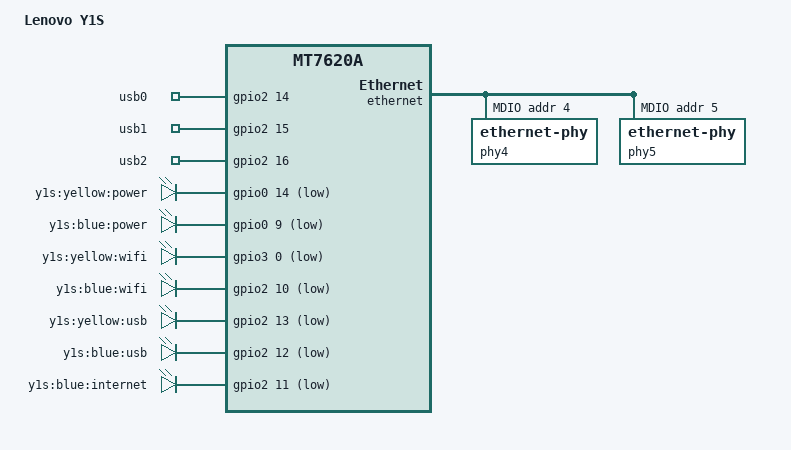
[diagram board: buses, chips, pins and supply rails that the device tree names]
/dts-v1/;

#include "Y1.dtsi"

/ {
	compatible = "lenovo,Y1S", "ralink,mt7620a-soc";
	model = "Lenovo Y1S";

	gpio_export {
		compatible = "gpio-export";
		#size-cells = <0>;
		/* GPIO 54、55、56 USB1、2、3 */
		usb0 {
			gpio-export,name = "usb0";
			gpio-export,output = <1>; // GPIOF_OUT_INIT_HIGH
			gpios = <&gpio2 14 0>; // GPIO2:40+14=GPIO 54
		};
		usb1 {
			gpio-export,name = "usb1";
			gpio-export,output = <1>;
			gpios = <&gpio2 15 0>;
		};
		usb2 {
			gpio-export,name = "usb2";
			gpio-export,output = <1>;
			gpios = <&gpio2 16 0>;
		};
	};

	gpio-leds {
		compatible = "gpio-leds";

		power1 {
			label = "y1s:yellow:power";
			gpios = <&gpio0 14 1>;
		};

		power2 {
			label = "y1s:blue:power";
			gpios = <&gpio0 9 1>;
		};

		wlan1 {
			label = "y1s:yellow:wifi";
			gpios = <&gpio3 0 1>;
		};

		wlan2 {
			label = "y1s:blue:wifi";
			gpios = <&gpio2 10 1>;
		};

		usb1 {
			label = "y1s:yellow:usb";
			gpios = <&gpio2 13 1>;
		};

		usb2 {
			label = "y1s:blue:usb";
			gpios = <&gpio2 12 1>;
		};

		internet {
			label = "y1s:blue:internet";
			gpios = <&gpio2 11 1>;
		};
	};
};

&ethernet {
	status = "okay";
	mtd-mac-address = <&factory 0x4>;
	pinctrl-names = "default";
	pinctrl-0 = <&rgmii1_pins &rgmii2_pins &mdio_pins>;
	mediatek,portmap = "wllll";

	port@4 {
		status = "okay";
		phy-handle = <&phy4>;
		phy-mode = "rgmii";
	};

	port@5 {
		status = "okay";
		phy-handle = <&phy5>;
		phy-mode = "rgmii";
	};

	mdio-bus {
		status = "okay";

		phy4: ethernet-phy@4 {
			reg = <4>;
			phy-mode = "rgmii";
		};

		phy5: ethernet-phy@5 {
			reg = <5>;
			phy-mode = "rgmii";
		};
	};
};

&gsw {
	mediatek,port4 = "gmac";
};
